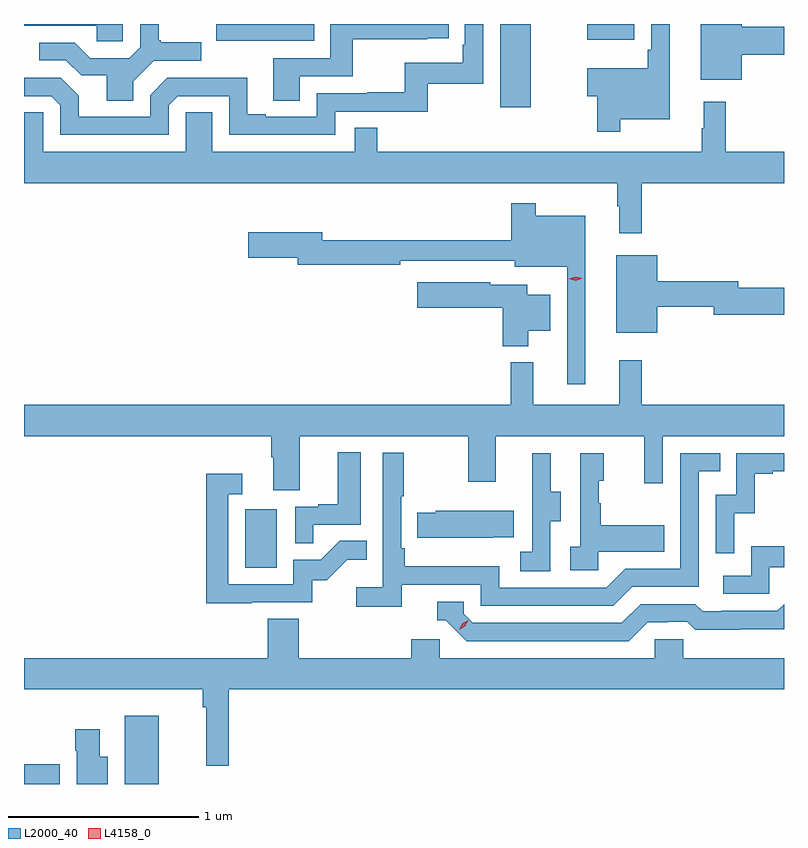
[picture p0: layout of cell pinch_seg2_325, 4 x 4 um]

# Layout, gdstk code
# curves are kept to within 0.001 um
import gdstk
lib = gdstk.Library(unit=1e-6, precision=1e-09)
def R(c, l, rs):  # rectangles x0, y0, x1, y1
    for r in rs: c.add(gdstk.rectangle(r[:2], r[2:], *l))
def P(c, l, *ps):  # polygons
    for p in ps: c.add(gdstk.Polygon(p, *l))
L2000_40 = (2000, 40)
L4158_0 = (4158, 0)

pinch_seg2_325 = lib.new_cell('pinch_seg2_325')
R(pinch_seg2_325, L2000_40, [(992.881,641.809,993.069,641.914), (993.41,641.809,993.589,642.169), (994.046,642.948,994.21,643.255), (995.387,645.372,995.548,645.809), (993.894,645.72,994.409,645.809), (995.846,645.725,996.094,645.809)])
P(pinch_seg2_325, L2000_40, [(993.402,645.809),(992.881,645.809),(992.881,645.801),(993.265,645.801),(993.265,645.717),(993.402,645.717)],
  [(993.642,645.381),(993.69,645.429),(993.96,645.429),(993.96,645.225),(994.518,645.225),(994.518,645.348),(995.005,645.348),(995.005,645.495),(995.298,645.495),(995.298,645.809),(995.202,645.809),(995.202,645.7),(995.189,645.7),(995.189,645.604),(994.884,645.604),(994.884,645.449),(994.687,645.449),(994.687,645.444),(994.422,645.444),(994.422,645.321),(994.153,645.321),(994.153,645.334),(994.057,645.334),(994.057,645.527),(993.852,645.527),(993.852,645.525),(993.636,645.525),(993.546,645.435),(993.546,645.321),(993.169,645.321),(993.169,645.431),(993.075,645.525),(992.881,645.525),(992.881,645.429),(993.024,645.429),(993.072,645.381),(993.072,645.225),(993.642,645.225)],
  [(994.333,645.534),(994.61,645.534),(994.61,645.73),(995.003,645.73),(995.003,645.735),(995.116,645.735),(995.116,645.809),(994.494,645.809),(994.494,645.63),(994.193,645.63),(994.193,645.406),(994.333,645.406)],
  [(996.019,645.308),(996.28,645.308),(996.28,645.809),(996.183,645.809),(996.183,645.673),(996.163,645.673),(996.163,645.577),(995.846,645.577),(995.846,645.43),(995.898,645.43),(995.898,645.243),(996.019,645.243)],
  [(996.658,645.647),(996.881,645.647),(996.881,645.794),(996.658,645.794),(996.658,645.809),(996.443,645.809),(996.443,645.515),(996.658,645.515)],
  [(993.457,645.508),(993.564,645.615),(993.814,645.615),(993.814,645.712),(993.601,645.712),(993.601,645.724),(993.589,645.724),(993.589,645.809),(993.492,645.809),(993.492,645.687),(993.435,645.63),(993.229,645.63),(993.148,645.711),(992.961,645.711),(992.961,645.618),(993.102,645.618),(993.182,645.538),(993.317,645.538),(993.317,645.406),(993.457,645.406)],
  [(996.131,644.972),(996.881,644.972),(996.881,645.136),(996.575,645.136),(996.575,645.4),(996.458,645.4),(996.458,645.26),(996.447,645.26),(996.447,645.136),(994.739,645.136),(994.739,645.263),(994.623,645.263),(994.623,645.136),(993.871,645.136),(993.871,645.344),(993.732,645.344),(993.732,645.136),(992.982,645.136),(992.982,645.344),(992.881,645.344),(992.881,644.972),(996.003,644.972),(996.003,644.849),(996.014,644.849),(996.014,644.709),(996.131,644.709)],
  [(995.836,644.8),(995.575,644.8),(995.575,644.866),(995.446,644.866),(995.446,644.671),(994.45,644.671),(994.45,644.713),(994.062,644.713),(994.062,644.579),(994.322,644.579),(994.322,644.542),(994.862,644.542),(994.862,644.562),(995.465,644.562),(995.465,644.531),(995.739,644.531),(995.739,643.914),(995.836,643.914)],
  [(996.214,644.32),(996.512,644.32),(996.512,644.278),(996.881,644.278),(996.881,644.42),(996.64,644.42),(996.64,644.456),(996.214,644.456),(996.214,644.593),(995.999,644.593),(995.999,644.183),(996.214,644.183)],
  [(995.536,644.195),(995.65,644.195),(995.65,644.383),(995.53,644.383),(995.53,644.437),(995.334,644.437),(995.334,644.449),(994.95,644.449),(994.95,644.315),(995.402,644.315),(995.402,644.114),(995.536,644.114)],
  [(994.333,643.64),(995.218,643.64),(995.218,643.401),(995.365,643.401),(995.365,643.64),(996.146,643.64),(996.146,643.392),(996.243,643.392),(996.243,643.64),(996.881,643.64),(996.881,643.804),(996.131,643.804),(996.131,644.038),(996.014,644.038),(996.014,643.804),(995.561,643.804),(995.561,644.029),(995.443,644.029),(995.443,643.804),(992.881,643.804),(992.881,643.64),(994.181,643.64),(994.181,643.528),(994.193,643.528),(994.193,643.354),(994.333,643.354)],
  [(994.403,643.173),(994.654,643.173),(994.654,643.555),(994.532,643.555),(994.532,643.282),(994.429,643.282),(994.429,643.269),(994.308,643.269),(994.308,643.075),(994.403,643.075)],
  [(994.868,642.858),(995.286,642.858),(995.286,642.747),(995.983,642.747),(996.082,642.846),(996.432,642.846),(996.432,643.455),(996.545,643.455),(996.545,643.551),(996.336,643.551),(996.336,642.942),(996.045,642.942),(995.946,642.843),(995.382,642.843),(995.382,642.955),(994.886,642.955),(994.886,643.051),(994.866,643.051),(994.866,643.324),(994.879,643.324),(994.879,643.552),(994.77,643.552),(994.77,642.844),(994.629,642.844),(994.629,642.742),(994.868,642.742)],
  [(996.618,643.235),(996.728,643.235),(996.728,643.443),(996.823,643.443),(996.823,643.455),(996.881,643.455),(996.881,643.551),(996.63,643.551),(996.63,643.332),(996.522,643.332),(996.522,643.023),(996.618,643.023)],
  [(995.652,643.192),(995.707,643.192),(995.707,643.347),(995.653,643.347),(995.653,643.549),(995.555,643.549),(995.555,643.335),(995.556,643.335),(995.556,643.031),(995.493,643.031),(995.493,642.928),(995.652,642.928)],
  [(995.904,643.031),(996.251,643.031),(996.251,643.171),(995.917,643.171),(995.917,643.286),(995.907,643.286),(995.907,643.404),(995.932,643.404),(995.932,643.549),(995.808,643.549),(995.808,643.058),(995.757,643.058),(995.757,642.933),(995.904,642.933)],
  [(994.079,642.765),(994.398,642.765),(994.398,642.882),(994.474,642.882),(994.581,642.989),(994.685,642.989),(994.685,643.088),(994.542,643.088),(994.444,642.99),(994.299,642.99),(994.299,642.861),(993.957,642.861),(993.957,643.335),(994.03,643.335),(994.03,643.441),(993.841,643.441),(993.841,642.76),(994.079,642.76)],
  [(995.351,643.109),(995.459,643.109),(995.459,643.246),(995.049,643.246),(995.049,643.236),(994.951,643.236),(994.951,643.106),(995.351,643.106)],
  [(996.804,642.951),(996.881,642.951),(996.881,643.06),(996.708,643.06),(996.708,642.906),(996.561,642.906),(996.561,642.81),(996.804,642.81)],
  [(996.163,642.66),(996.27,642.66),(996.27,642.663),(996.373,642.663),(996.415,642.621),(996.881,642.623),(996.881,642.755),(996.846,642.72),(996.553,642.72),(996.553,642.717),(996.454,642.717),(996.415,642.756),(996.126,642.756),(996.027,642.657),(995.244,642.657),(995.196,642.705),(995.196,642.768),(995.057,642.768),(995.057,642.672),(995.1,642.672),(995.211,642.561),(996.064,642.561)],
  [(993.959,642.308),(996.881,642.308),(996.881,642.472),(996.351,642.472),(996.351,642.57),(996.201,642.57),(996.201,642.472),(995.07,642.472),(995.07,642.57),(994.919,642.57),(994.919,642.472),(994.328,642.472),(994.328,642.68),(994.163,642.68),(994.163,642.472),(992.881,642.472),(992.881,642.308),(993.823,642.308),(993.823,642.212),(993.841,642.212),(993.841,641.904),(993.959,641.904)],
  [(993.322,641.953),(993.28,641.953),(993.28,642.097),(993.151,642.097),(993.151,641.984),(993.158,641.984),(993.158,641.809),(993.322,641.809)])
P(pinch_seg2_325, L4158_0, [(995.785,644.459),(995.749,644.468),(995.749,644.468),(995.749,644.468),(995.784,644.479),(995.82,644.471),(995.82,644.47),(995.82,644.47)],
  [(995.171,642.62),(995.171,642.621),(995.188,642.653),(995.219,642.672),(995.219,642.672),(995.219,642.672),(995.202,642.639),(995.172,642.62)])

lib.write_gds('pinch_seg2_325.gds')
